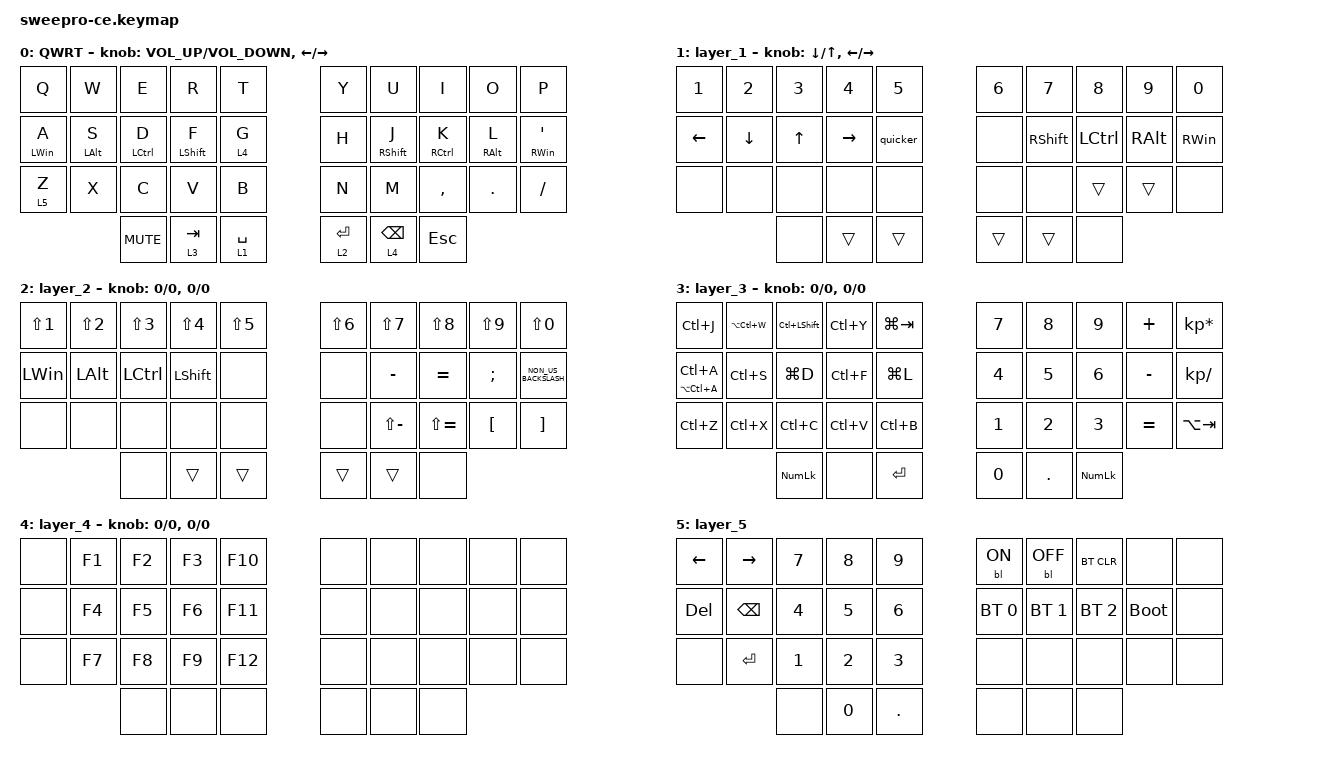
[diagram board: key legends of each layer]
/*
 * Copyright (c) 2020 The ZMK Contributors
 *
 * SPDX-License-Identifier: MIT
 */
/*
 * Copyright (c) 2020 The ZMK Contributors
 *
 * SPDX-License-Identifier: MIT
 */

#include <behaviors.dtsi>
#include <dt-bindings/zmk/backlight.h>
#include <dt-bindings/zmk/bt.h>
#include <dt-bindings/zmk/keys.h>

#define DEFAULT 0
#define COLEMAK 1
#define NUM     2
#define SYM     3
#define FUN     4

&mt {
    flavor = "tap-preferred";
    tapping_term_ms = <350>;
};

/ {
    combos { compatible = "zmk,combos"; };

    macros {
        quicker: quicker {
            compatible = "zmk,behavior-macro";
            #binding-cells = <0>;
            bindings = <&kp LCTRL &kp LCTRL>;
            label = "QUICKER";
        };
    };

    keymap {
        compatible = "zmk,keymap";

        default_layer {
            label = "QWRT";
            bindings = <
  &kp Q           &kp W           &kp E        &kp R             &kp T            &kp Y    &kp U              &kp I        &kp O            &kp P
  &mt LEFT_WIN A  &mt LEFT_ALT S  &mt LCTRL D  &mt LEFT_SHIFT F  &lt 4 G          &kp H    &mt RIGHT_SHIFT J  &mt RCTRL K  &mt RIGHT_ALT L  &mt RIGHT_WIN SQT
  &lt 5 Z         &kp X           &kp C        &kp V             &kp B            &kp N    &kp M              &kp COMMA    &kp PERIOD       &kp SLASH
  &kp C_MUTE      &lt 3 TAB       &lt 1 SPACE  &lt 2 ENTER       &lt 4 BACKSPACE  &kp ESC
            >;

            sensor-bindings =
                <&inc_dec_kp C_VOLUME_UP C_VOLUME_DOWN>,
                <&inc_dec_kp LEFT RIGHT_ARROW>;
        };

        layer_1 {
            bindings = <
  &kp NUMBER_1    &kp NUMBER_2    &kp NUMBER_3  &kp NUMBER_4     &kp NUMBER_5  &kp NUMBER_6  &kp NUMBER_7     &kp NUMBER_8  &kp NUMBER_9   &kp NUMBER_0
  &kp LEFT_ARROW  &kp DOWN_ARROW  &kp UP_ARROW  &kp RIGHT_ARROW  &quicker      &none         &kp RIGHT_SHIFT  &kp LCTRL     &kp RIGHT_ALT  &kp RIGHT_WIN
  &none           &none           &none         &none            &none         &none         &none            &trans        &trans         &none
  &none           &trans          &trans        &trans           &trans        &none
            >;

            sensor-bindings =
                <&inc_dec_kp DOWN UP_ARROW>,
                <&inc_dec_kp LEFT RIGHT_ARROW>;
        };

        layer_2 {
            bindings = <
  &kp LS(NUMBER_1)  &kp LS(NUMBER_2)  &kp LS(NUMBER_3)  &kp LS(NUMBER_4)  &kp LS(NUMBER_5)  &kp LS(NUMBER_6)  &kp LS(NUMBER_7)  &kp LS(NUMBER_8)  &kp LS(NUMBER_9)  &kp LS(NUMBER_0)
  &kp LEFT_WIN      &kp LEFT_ALT      &kp LCTRL         &kp LEFT_SHIFT    &none             &none             &kp MINUS         &kp EQUAL         &kp SEMICOLON     &kp NON_US_BACKSLASH
  &none             &none             &none             &none             &none             &none             &kp LS(MINUS)     &kp LS(EQUAL)     &kp LEFT_BRACKET  &kp RIGHT_BRACKET
  &none             &trans            &trans            &trans            &trans            &none
            >;

            sensor-bindings = <&inc_dec_kp 0 0>, <&inc_dec_kp 0 0>;
        };

        layer_3 {
            bindings = <
  &kp LC(J)            &kp LA(LC(W))  &kp LC(LEFT_SHIFT)  &kp LC(Y)     &kp LG(TAB)  &kp NUMBER_7    &kp NUMBER_8  &kp NUMBER_9  &kp PLUS   &kp KP_MULTIPLY
  &mt LA(LC(A)) LC(A)  &kp LC(S)      &kp LG(D)           &kp LC(F)     &kp LG(L)    &kp NUMBER_4    &kp NUMBER_5  &kp NUMBER_6  &kp MINUS  &kp KP_DIVIDE
  &kp LC(Z)            &kp LC(X)      &kp LC(C)           &kp LC(V)     &kp LC(B)    &kp NUMBER_1    &kp NUMBER_2  &kp NUMBER_3  &kp EQUAL  &kp LA(TAB)
  &kp KP_NUMLOCK       &none          &kp ENTER           &kp NUMBER_0  &kp PERIOD   &kp KP_NUMLOCK
            >;

            sensor-bindings = <&inc_dec_kp 0 0>, <&inc_dec_kp 0 0>;
        };

        layer_4 {
            bindings = <
  &none  &kp F1  &kp F2  &kp F3  &kp F10  &none  &none  &none  &none  &none
  &none  &kp F4  &kp F5  &kp F6  &kp F11  &none  &none  &none  &none  &none
  &none  &kp F7  &kp F8  &kp F9  &kp F12  &none  &none  &none  &none  &none
  &none  &none   &none   &none   &none    &none
            >;

            sensor-bindings = <&inc_dec_kp 0 0>, <&inc_dec_kp 0 0>;
        };

        layer_5 {
            bindings = <
  &kp LEFT_ARROW  &kp RIGHT_ARROW  &kp NUMBER_7  &kp NUMBER_8  &kp NUMBER_9  &bl BL_ON     &bl BL_OFF    &bt BT_CLR    &none        &none
  &kp DEL         &kp BACKSPACE    &kp NUMBER_4  &kp NUMBER_5  &kp NUMBER_6  &bt BT_SEL 0  &bt BT_SEL 1  &bt BT_SEL 2  &bootloader  &none
  &none           &kp ENTER        &kp NUMBER_1  &kp NUMBER_2  &kp NUMBER_3  &none         &none         &none         &none        &none
  &none           &kp NUMBER_0     &kp PERIOD    &none         &none         &none
            >;
        };
    };
};
